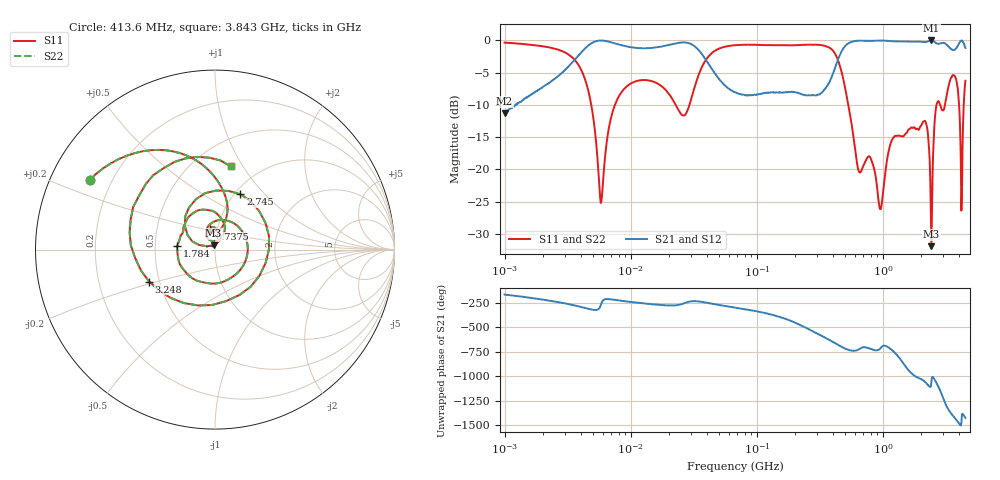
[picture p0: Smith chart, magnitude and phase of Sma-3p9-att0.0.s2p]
! S1P to S2P converted file from C:\Users\hsaether\OneDrive\Source\repos\Spar\Data\Sma-3p9-att0.0.s1p
! Spar Program version 0.3
# HZ S MA R 50
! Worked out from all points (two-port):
!   801 points, 1 MHz to 4.5 GHz, reference 50 ohm
!   highest |S21| = 0.00 dB at 2.42 GHz (marker M1); lowest = -11.3 dB at 1 MHz (marker M2)
!   |S21| within 3 dB of the highest: 3.597 MHz to 39.42 MHz (35.82 MHz wide, 167 % of centre); 438.9 MHz to end of sweep
!   lowest |S11| = -31.9 dB at 2.42 GHz (marker M3), VSWR 1.05, Z = 49.2 + j2.39 ohm
!   |S11| at or under -10 dB: 530.8 MHz to 2.656 GHz (2.125 GHz wide, 133 % of centre); 2.841 GHz to 3.096 GHz (255.9 MHz wide, 8.62 % of centre); 4.009 GHz to 4.365 GHz (356.2 MHz wide, 8.51 % of centre)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
!   |S22| runs from -31.9 to -0.3 dB; largest |S21 - S12| = 0
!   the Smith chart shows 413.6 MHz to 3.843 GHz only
!   S11 on the Smith chart (normalised r, x): 413.6 MHz: 0.12, +0.26; 737.5 MHz: 0.92, +0.22; 1.784 GHz: 0.65, +0.03; 2.745 GHz: 1.07, +0.74; 3.248 GHz: 0.44, -0.19; 3.843 GHz: 0.74, +0.89
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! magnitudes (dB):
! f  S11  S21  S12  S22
! 1 MHz  -0.3  -11.3  -11.3  -0.3
! 4.092 MHz  -4.8  -1.8  -1.8  -4.8
! 5.789 MHz  -25.2  0.0  0.0  -25.2
! 8.02 MHz  -8.7  -0.6  -0.6  -8.7
! 16.57 MHz  -6.8  -1.0  -1.0  -6.8
! 26.59 MHz  -11.6  -0.3  -0.3  -11.6
! 40.07 MHz  -2.8  -3.2  -3.2  -2.8
! 67.79 MHz  -0.7  -8.1  -8.1  -0.7
! 274.5 MHz  -0.7  -8.5  -8.5  -0.7
! 413.6 MHz  -1.9  -4.4  -4.4  -1.9
! 636.6 MHz  -20.0  0.0  0.0  -20.0
! 737.5 MHz  -18.4  -0.1  -0.1  -18.4
! 959.3 MHz  -26.2  0.0  0.0  -26.2
! 1.111 GHz  -17.1  -0.1  -0.1  -17.1
! 1.784 GHz  -13.5  -0.2  -0.2  -13.5
! 2.178 GHz  -12.7  -0.2  -0.2  -12.7
! 2.42 GHz  -31.9  0.0  0.0  -31.9
! 2.745 GHz  -9.4  -0.5  -0.5  -9.4
! 3.248 GHz  -7.8  -0.8  -0.8  -7.8
! 3.843 GHz  -6.5  -1.1  -1.1  -6.5
! 4.181 GHz  -26.4  0.0  0.0  -26.4
! 4.5 GHz  -6.2  -1.2  -1.2  -6.2
